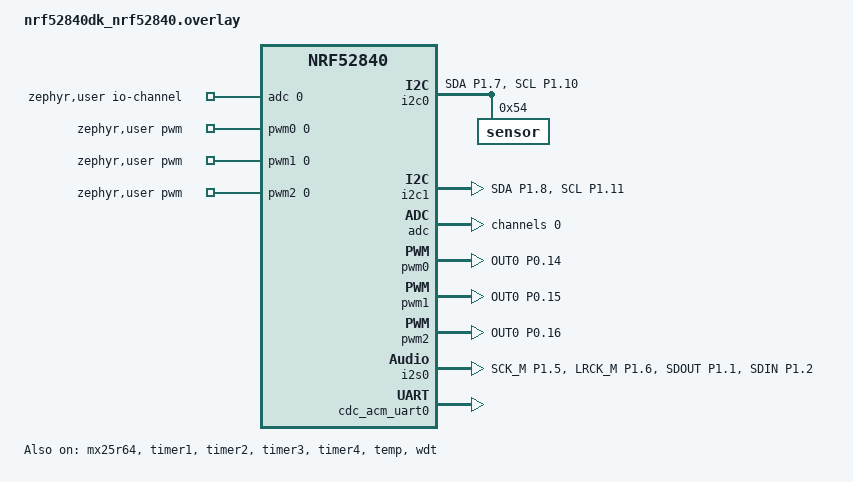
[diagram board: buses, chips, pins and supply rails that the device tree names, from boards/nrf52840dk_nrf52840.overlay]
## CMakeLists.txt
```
#
# Copyright (c) 2026 Nordic Semiconductor ASA
#
# SPDX-License-Identifier: LicenseRef-Nordic-5-Clause
#

cmake_minimum_required(VERSION 3.20.0)
find_package(Zephyr REQUIRED HINTS $ENV{ZEPHYR_BASE})
project(power_load)

target_sources_ifdef(CONFIG_ADC app PRIVATE src/adc_test.c)
target_sources_ifdef(CONFIG_BT app PRIVATE src/bt_test.c)
target_sources_ifdef(CONFIG_COUNTER app PRIVATE src/counter_test.c)
target_sources_ifdef(CONFIG_FLASH app PRIVATE src/flash_test.c)
target_sources_ifdef(CONFIG_GPIO app PRIVATE src/gpio_test.c)
target_sources_ifdef(CONFIG_I2C app PRIVATE src/i2c_test.c)
target_sources_ifdef(CONFIG_I2S app PRIVATE src/i2s_test.c)
target_sources_ifdef(CONFIG_PWM app PRIVATE src/pwm_test.c)
target_sources_ifdef(CONFIG_SENSOR app PRIVATE src/sensor_test.c)
target_sources_ifdef(CONFIG_WATCHDOG app PRIVATE src/wdt_test.c)

zephyr_include_directories_ifdef(CONFIG_USB_DEVICE_STACK_NEXT ${ZEPHYR_BASE}/samples/subsys/usb/common)
zephyr_sources_ifdef(CONFIG_USB_DEVICE_STACK_NEXT ${ZEPHYR_BASE}/samples/subsys/usb/common/sample_usbd_init.c)
target_sources_ifdef(CONFIG_USB_DEVICE_STACK_NEXT app PRIVATE src/usb_test.c)

target_sources(app PRIVATE src/cpu_test.c src/main.c)
```

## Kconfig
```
#
# Copyright (c) 2026 Nordic Semiconductor ASA
#
# SPDX-License-Identifier: LicenseRef-Nordic-5-Clause
#

config TEST_I2S_ALLOWED_DATA_OFFSET
	int "Allowed offset in received data"
	default 2 if DT_HAS_NORDIC_NRF_I2S_ENABLED || DT_HAS_NORDIC_NRF_TDM_ENABLED
	default 0
	help
	  Maximum allowed offset between sent and received samples. Non-zero
	  value of this option may be needed when GPIO loopback is used.

source "$(ZEPHYR_BASE)/samples/subsys/usb/common/Kconfig.sample_usbd"
source "Kconfig.zephyr"
```

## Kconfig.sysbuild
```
#
# Copyright (c) 2026 Nordic Semiconductor ASA
#
# SPDX-License-Identifier: LicenseRef-Nordic-5-Clause
#

choice FLPRCORE

config FLPR_VPR_TEST_APP
	bool "Test app image for cpuflpr"

endchoice

if !FLPRCORE_NONE

config FLPRCORE_IMAGE_NAME
	default "flpr_vpr_test_app" if FLPR_VPR_TEST_APP

config FLPRCORE_IMAGE_PATH
	default "$(ZEPHYR_NRF_MODULE_DIR)/tests/benchmarks/power_load/vpr_test_app" if FLPR_VPR_TEST_APP

endif # !FLPRCORE_NONE

choice PPRCORE

config PPR_VPR_TEST_APP
	bool "Test app image for cpuppr"

endchoice

if !PPRCORE_NONE

config PPRCORE_IMAGE_NAME
	default "ppr_vpr_test_app" if PPR_VPR_TEST_APP

config PPRCORE_IMAGE_PATH
	default "$(ZEPHYR_NRF_MODULE_DIR)/tests/benchmarks/power_load/vpr_test_app" if PPR_VPR_TEST_APP

endif # !PPRCORE_NONE

source "share/sysbuild/Kconfig"
```

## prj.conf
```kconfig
CONFIG_LOG=y
CONFIG_MAIN_STACK_SIZE=8192
CONFIG_CPU_LOAD=y

# ADC
CONFIG_ADC=y

# COUNTER
CONFIG_COUNTER=y

# GPIO
CONFIG_GPIO=y

# I2C
CONFIG_I2C=y
CONFIG_NRFX_TWIS=y

# UART
CONFIG_SERIAL=y
CONFIG_UART_ASYNC_API=y

# WDT
CONFIG_WATCHDOG=y
```

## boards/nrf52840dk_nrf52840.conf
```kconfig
# BLUETOOTH
CONFIG_BT=y
CONFIG_BT_DEVICE_NAME="Test beacon"

# I2S
CONFIG_I2S=y

# FLASH
CONFIG_FLASH=y

# PWM
CONFIG_PWM=y

# SENSOR
CONFIG_SENSOR=y

# USB
CONFIG_USB_DEVICE_STACK_NEXT=y

CONFIG_STDOUT_CONSOLE=y
CONFIG_SERIAL=y
CONFIG_UART_LINE_CTRL=y
CONFIG_USBD_CDC_ACM_CLASS=y

CONFIG_USBD_LOG_LEVEL_WRN=y
CONFIG_UDC_DRIVER_LOG_LEVEL_WRN=y
CONFIG_USBD_CDC_ACM_LOG_LEVEL_ERR=y

CONFIG_SAMPLE_USBD_PID=0x0001
CONFIG_SAMPLE_USBD_PRODUCT="USBD CDC ACM sample"

CONFIG_BT_CTLR_TX_PWR_PLUS_8=y
```

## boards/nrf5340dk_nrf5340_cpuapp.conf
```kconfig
# BLUETOOTH
CONFIG_BT=y
CONFIG_BT_DEVICE_NAME="Test beacon"

# I2S
CONFIG_I2S=y

# FLASH
CONFIG_FLASH=y

# PWM
CONFIG_PWM=y

# USB
CONFIG_USB_DEVICE_STACK_NEXT=y

CONFIG_STDOUT_CONSOLE=y
CONFIG_SERIAL=y
CONFIG_UART_LINE_CTRL=y
CONFIG_USBD_CDC_ACM_CLASS=y

CONFIG_USBD_LOG_LEVEL_WRN=y
CONFIG_UDC_DRIVER_LOG_LEVEL_WRN=y
CONFIG_USBD_CDC_ACM_LOG_LEVEL_ERR=y

CONFIG_SAMPLE_USBD_PID=0x0001
CONFIG_SAMPLE_USBD_PRODUCT="USBD CDC ACM sample"

CONFIG_SOC_NRF53_CPUNET_ENABLE=y
```

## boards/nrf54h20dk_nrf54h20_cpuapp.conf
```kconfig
# BLUETOOTH
CONFIG_BT=y
CONFIG_BT_DEVICE_NAME="Test beacon"

# FLASH
CONFIG_FLASH=y

# PWM
CONFIG_PWM=y

# USB
CONFIG_USB_DEVICE_STACK_NEXT=y

CONFIG_STDOUT_CONSOLE=y
CONFIG_SERIAL=y
CONFIG_UART_LINE_CTRL=y
CONFIG_USBD_CDC_ACM_CLASS=y

CONFIG_USBD_LOG_LEVEL_WRN=y
CONFIG_UDC_DRIVER_LOG_LEVEL_WRN=y
CONFIG_USBD_CDC_ACM_LOG_LEVEL_ERR=y

CONFIG_SAMPLE_USBD_PID=0x0001
CONFIG_SAMPLE_USBD_PRODUCT="USBD CDC ACM sample"

CONFIG_SOC_NRF54H20_CPURAD_ENABLE=y
```

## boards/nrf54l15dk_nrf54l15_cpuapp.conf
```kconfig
# BLUETOOTH
CONFIG_BT=y
CONFIG_BT_DEVICE_NAME="Test beacon"

# FLASH
CONFIG_FLASH=y

# PWM
CONFIG_PWM=y

# SENSOR
CONFIG_SENSOR=y

CONFIG_BT_CTLR_TX_PWR_PLUS_8=y
```

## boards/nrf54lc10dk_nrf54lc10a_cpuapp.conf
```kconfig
# BLUETOOTH
CONFIG_BT=y
CONFIG_BT_DEVICE_NAME="Test beacon"

# SENSOR
CONFIG_SENSOR=y

CONFIG_BT_CTLR_TX_PWR_PLUS_8=y
```

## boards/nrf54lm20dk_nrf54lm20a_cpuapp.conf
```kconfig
# BLUETOOTH
CONFIG_BT=y
CONFIG_BT_DEVICE_NAME="Test beacon"

# FLASH
CONFIG_FLASH=y

# I2S
CONFIG_I2S=y

# SENSOR
CONFIG_SENSOR=y

# USB
CONFIG_USB_DEVICE_STACK_NEXT=y

CONFIG_STDOUT_CONSOLE=y
CONFIG_SERIAL=y
CONFIG_UART_LINE_CTRL=y
CONFIG_USBD_CDC_ACM_CLASS=y

CONFIG_USBD_LOG_LEVEL_WRN=y
CONFIG_UDC_DRIVER_LOG_LEVEL_WRN=y
CONFIG_USBD_CDC_ACM_LOG_LEVEL_ERR=y

CONFIG_SAMPLE_USBD_PID=0x0001
CONFIG_SAMPLE_USBD_PRODUCT="USBD CDC ACM sample"

CONFIG_BT_CTLR_TX_PWR_PLUS_8=y
```

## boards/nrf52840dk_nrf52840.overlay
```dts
/*
 * Copyright (c) 2026 Nordic Semiconductor ASA
 *
 * SPDX-License-Identifier: LicenseRef-Nordic-5-Clause
 */

/ {
	aliases {
		dut-flash = &mx25r64;
		test-gpio = &led0;
		watchdog0 = &wdt;
		/delete-property/ pwm_led1;
	};

	zephyr,user {
		io-channels = <&adc 0>;
		pwms = <&pwm0 0 PWM_MSEC(10) PWM_POLARITY_NORMAL>,
		       <&pwm1 0 PWM_MSEC(10) PWM_POLARITY_NORMAL>,
		       <&pwm2 0 PWM_MSEC(10) PWM_POLARITY_NORMAL>;
	};
};

&pinctrl {
	i2c0_default_alt: i2c0_default_alt {
		group1 {
			psels = <NRF_PSEL(TWIM_SDA, 1, 7)>,
				<NRF_PSEL(TWIM_SCL, 1, 10)>;
		};
	};

	i2c0_sleep_alt: i2c0_sleep_alt {
		group1 {
			psels = <NRF_PSEL(TWIM_SDA, 1, 7)>,
				<NRF_PSEL(TWIM_SCL, 1, 10)>;
			low-power-enable;
		};
	};

	i2c1_default_alt: i2c1_default_alt {
		group1 {
			psels = <NRF_PSEL(TWIS_SDA, 1, 8)>,
				<NRF_PSEL(TWIS_SCL, 1, 11)>;
			bias-pull-up;
		};
	};

	i2c1_sleep_alt: i2c1_sleep_alt {
		group1 {
			psels = <NRF_PSEL(TWIS_SDA, 1, 8)>,
				<NRF_PSEL(TWIS_SCL, 1, 11)>;
			low-power-enable;
		};
	};

	pwm0_default_alt: pwm0_default_alt {
		group1 {
			psels = <NRF_PSEL(PWM_OUT0, 0, 14)>;
		};
	};

	pwm0_sleep_alt: pwm0_sleep_alt {
		group1 {
			psels = <NRF_PSEL(PWM_OUT0, 0, 14)>;
			low-power-enable;
		};
	};

	pwm1_default_alt: pwm1_default_alt {
		group1 {
			psels = <NRF_PSEL(PWM_OUT0, 0, 15)>;
		};
	};

	pwm1_sleep_alt: pwm1_sleep_alt {
		group1 {
			psels = <NRF_PSEL(PWM_OUT0, 0, 15)>;
			low-power-enable;
		};
	};

	pwm2_default_alt: pwm2_default_alt {
		group1 {
			psels = <NRF_PSEL(PWM_OUT0, 0, 16)>;
		};
	};

	pwm2_sleep_alt: pwm2_sleep_alt {
		group1 {
			psels = <NRF_PSEL(PWM_OUT0, 0, 16)>;
			low-power-enable;
		};
	};

	i2s0_default_alt: i2s0_default_alt {
		group1 {
			psels = <NRF_PSEL(I2S_SCK_M, 1, 5)>,
				<NRF_PSEL(I2S_LRCK_M, 1, 6)>,
				<NRF_PSEL(I2S_SDOUT, 1, 1)>,
				<NRF_PSEL(I2S_SDIN, 1, 2)>;
		};
	};
};

dut_twim: &i2c0 {
	compatible = "nordic,nrf-twim";
	status = "okay";
	pinctrl-0 = <&i2c0_default_alt>;
	pinctrl-1 = <&i2c0_sleep_alt>;
	pinctrl-names = "default", "sleep";

	sensor: sensor@54 {
		reg = <0x54>;
	};
};

dut_twis: &i2c1 {
	compatible = "nordic,nrf-twis";
	status = "okay";
	pinctrl-0 = <&i2c1_default_alt>;
	pinctrl-1 = <&i2c1_sleep_alt>;
	pinctrl-names = "default", "sleep";
};

&mx25r64 {
	status = "okay";
};

&adc {
	#address-cells = <1>;
	#size-cells = <0>;

	channel@0 {
		reg = <0>;
		zephyr,gain = "ADC_GAIN_1";
		zephyr,reference = "ADC_REF_INTERNAL";
		zephyr,acquisition-time = <ADC_ACQ_TIME(ADC_ACQ_TIME_MICROSECONDS, 10)>;
		zephyr,input-positive = <NRF_SAADC_AIN1>; /* P0.03 */
		zephyr,resolution = <10>;
	};
};

&timer1 {
	status = "okay";
};

&timer2 {
	status = "okay";
};

&timer3 {
	status = "okay";
};

&timer4 {
	status = "okay";
};

&pwm0 {
	status = "okay";
	pinctrl-0 = <&pwm0_default_alt>;
	pinctrl-1 = <&pwm0_sleep_alt>;
	pinctrl-names = "default", "sleep";
};

&pwm1 {
	status = "okay";
	pinctrl-0 = <&pwm1_default_alt>;
	pinctrl-1 = <&pwm1_sleep_alt>;
	pinctrl-names = "default", "sleep";
};

&pwm2 {
	status = "okay";
	pinctrl-0 = <&pwm2_default_alt>;
	pinctrl-1 = <&pwm2_sleep_alt>;
	pinctrl-names = "default", "sleep";
};

temp_sensor: &temp {
	status = "okay";
};

&gpio0 {
	status = "okay";
};

dut_i2s: &i2s0 {
	status = "okay";
	pinctrl-0 = <&i2s0_default_alt>;
	pinctrl-names = "default";
};

&wdt {
	status = "okay";
};

&zephyr_udc0 {
	cdc_acm_uart0 {
		compatible = "zephyr,cdc-acm-uart";
	};
};
```

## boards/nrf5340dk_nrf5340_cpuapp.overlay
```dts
/*
 * Copyright (c) 2026 Nordic Semiconductor ASA
 *
 * SPDX-License-Identifier: LicenseRef-Nordic-5-Clause
 */

/ {
	aliases {
		dut-flash = &mx25r64;
		test-gpio = &led0;
		watchdog0 = &wdt;
		/delete-property/ pwm_led1;
	};

	zephyr,user {
		io-channels = <&adc 0>;
		pwms = <&pwm0 0 PWM_MSEC(10) PWM_POLARITY_NORMAL>,
		       <&pwm1 0 PWM_MSEC(10) PWM_POLARITY_NORMAL>,
		       <&pwm2 0 PWM_MSEC(10) PWM_POLARITY_NORMAL>;
	};
};

&pinctrl {
	i2c1_default_alt: i2c1_default_alt {
		group1 {
			psels = <NRF_PSEL(TWIM_SDA, 1, 4)>,
				<NRF_PSEL(TWIM_SCL, 1, 8)>;
		};
	};

	i2c1_sleep_alt: i2c1_sleep_alt {
		group1 {
			psels = <NRF_PSEL(TWIM_SDA, 1, 4)>,
				<NRF_PSEL(TWIM_SCL, 1, 8)>;
			low-power-enable;
		};
	};

	i2c2_default_alt: i2c2_default_alt {
		group1 {
			psels = <NRF_PSEL(TWIS_SDA, 1, 5)>,
				<NRF_PSEL(TWIS_SCL, 1, 9)>;
			bias-pull-up;
		};
	};

	i2c2_sleep_alt: i2c2_sleep_alt {
		group1 {
			psels = <NRF_PSEL(TWIS_SDA, 1, 5)>,
				<NRF_PSEL(TWIS_SCL, 1, 9)>;
			low-power-enable;
		};
	};

	pwm0_default_alt: pwm0_default_alt {
		group1 {
			psels = <NRF_PSEL(PWM_OUT0, 0, 29)>;
		};
	};

	pwm0_sleep_alt: pwm0_sleep_alt {
		group1 {
			psels = <NRF_PSEL(PWM_OUT0, 0, 29)>;
			low-power-enable;
		};
	};

	pwm1_default_alt: pwm1_default_alt {
		group1 {
			psels = <NRF_PSEL(PWM_OUT0, 0, 30)>;
		};
	};

	pwm1_sleep_alt: pwm1_sleep_alt {
		group1 {
			psels = <NRF_PSEL(PWM_OUT0, 0, 30)>;
			low-power-enable;
		};
	};

	pwm2_default_alt: pwm2_default_alt {
		group1 {
			psels = <NRF_PSEL(PWM_OUT0, 0, 31)>;
		};
	};

	pwm2_sleep_alt: pwm2_sleep_alt {
		group1 {
			psels = <NRF_PSEL(PWM_OUT0, 0, 31)>;
			low-power-enable;
		};
	};

	i2s0_default_alt: i2s0_default_alt {
		group1 {
			psels = <NRF_PSEL(I2S_SCK_M, 1, 6)>,
				<NRF_PSEL(I2S_LRCK_M, 1, 7)>,
				<NRF_PSEL(I2S_SDOUT, 0, 4)>,
				<NRF_PSEL(I2S_SDIN, 0, 5)>;
		};
	};
};

dut_twim: &i2c1 {
	compatible = "nordic,nrf-twim";
	status = "okay";
	pinctrl-0 = <&i2c1_default_alt>;
	pinctrl-1 = <&i2c1_sleep_alt>;
	pinctrl-names = "default", "sleep";

	sensor: sensor@54 {
		reg = <0x54>;
	};
};

dut_twis: &i2c2 {
	compatible = "nordic,nrf-twis";
	status = "okay";
	pinctrl-0 = <&i2c2_default_alt>;
	pinctrl-1 = <&i2c2_sleep_alt>;
	pinctrl-names = "default", "sleep";
};

&mx25r64 {
	status = "okay";
};

&adc {
	#address-cells = <1>;
	#size-cells = <0>;

	channel@0 {
		reg = <0>;
		zephyr,gain = "ADC_GAIN_1";
		zephyr,reference = "ADC_REF_INTERNAL";
		zephyr,acquisition-time = <ADC_ACQ_TIME(ADC_ACQ_TIME_MICROSECONDS, 10)>;
		zephyr,input-positive = <NRF_SAADC_AIN4>; /* P0.25 */
		zephyr,resolution = <10>;
	};
};

&timer1 {
	status = "okay";
};

&timer2 {
	status = "okay";
};

&pwm0 {
	status = "okay";
	pinctrl-0 = <&pwm0_default_alt>;
	pinctrl-1 = <&pwm0_sleep_alt>;
	pinctrl-names = "default", "sleep";
};

&pwm1 {
	status = "okay";
	pinctrl-0 = <&pwm1_default_alt>;
	pinctrl-1 = <&pwm1_sleep_alt>;
	pinctrl-names = "default", "sleep";
};

&pwm2 {
	status = "okay";
	pinctrl-0 = <&pwm2_default_alt>;
	pinctrl-1 = <&pwm2_sleep_alt>;
	pinctrl-names = "default", "sleep";
};

&gpio0 {
	status = "okay";
};

dut_i2s: &i2s0 {
	status = "okay";
	pinctrl-0 = <&i2s0_default_alt>;
	pinctrl-names = "default";
};

&wdt {
	status = "okay";
};

&zephyr_udc0 {
	cdc_acm_uart0 {
		compatible = "zephyr,cdc-acm-uart";
	};
};
```

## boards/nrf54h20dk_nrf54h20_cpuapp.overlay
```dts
/*
 * Copyright (c) 2026 Nordic Semiconductor ASA
 *
 * SPDX-License-Identifier: LicenseRef-Nordic-5-Clause
 */

/ {
	aliases {
		dut-flash = &mx25uw63;
		test-gpio = &led0;
		watchdog0 = &wdt010;
		/delete-property/ pwm_led1;
	};

	zephyr,user {
		io-channels = <&adc 0>;
		pwms = <&pwm130 0 PWM_MSEC(10) PWM_POLARITY_NORMAL>,
		       <&pwm131 0 PWM_MSEC(10) PWM_POLARITY_NORMAL>,
		       <&pwm132 0 PWM_MSEC(10) PWM_POLARITY_NORMAL>;
	};
};

&pinctrl {
	i2c131_default_alt: i2c131_default_alt {
		group1 {
			psels = <NRF_PSEL(TWIM_SDA, 2, 8)>,
				<NRF_PSEL(TWIM_SCL, 1, 2)>;
		};
	};

	i2c131_sleep_alt: i2c131_sleep_alt {
		group1 {
			psels = <NRF_PSEL(TWIM_SDA, 2, 8)>,
				<NRF_PSEL(TWIM_SCL, 1, 2)>;
			low-power-enable;
		};
	};

	i2c132_default_alt: i2c132_default_alt {
		group1 {
			psels = <NRF_PSEL(TWIM_SDA, 2, 9)>,
				<NRF_PSEL(TWIM_SCL, 1, 3)>;
			bias-pull-up;
		};
	};

	i2c132_sleep_alt: i2c132_sleep_alt {
		group1 {
			psels = <NRF_PSEL(TWIM_SDA, 2, 9)>,
				<NRF_PSEL(TWIM_SCL, 1, 3)>;
			low-power-enable;
		};
	};

	pwm130_default_alt: pwm130_default_alt {
		group1 {
			psels = <NRF_PSEL(PWM_OUT0, 9, 1)>;
		};
	};

	pwm130_sleep_alt: pwm130_sleep_alt {
		group1 {
			psels = <NRF_PSEL(PWM_OUT0, 9, 1)>;
			low-power-enable;
		};
	};

	pwm131_default_alt: pwm131_default_alt {
		group1 {
			psels = <NRF_PSEL(PWM_OUT0, 0, 8)>;
		};
	};

	pwm131_sleep_alt: pwm131_sleep_alt {
		group1 {
			psels = <NRF_PSEL(PWM_OUT0, 0, 8)>;
			low-power-enable;
		};
	};

	pwm132_default_alt: pwm132_default_alt {
		group1 {
			psels = <NRF_PSEL(PWM_OUT0, 0, 9)>;
		};
	};

	pwm132_sleep_alt: pwm132_sleep_alt {
		group1 {
			psels = <NRF_PSEL(PWM_OUT0, 0, 9)>;
			low-power-enable;
		};
	};
};

dut_twim: &i2c131 {
	compatible = "nordic,nrf-twim";
	status = "okay";
	pinctrl-0 = <&i2c131_default_alt>;
	pinctrl-1 = <&i2c131_sleep_alt>;
	pinctrl-names = "default", "sleep";
	memory-regions = <&cpuapp_dma_region>;
	zephyr,concat-buf-size = <512>;

	sensor: sensor@54 {
		reg = <0x54>;
	};
};

dut_twis: &i2c132 {
	compatible = "nordic,nrf-twis";
	status = "okay";
	pinctrl-0 = <&i2c132_default_alt>;
	pinctrl-1 = <&i2c132_sleep_alt>;
	pinctrl-names = "default", "sleep";
	memory-regions = <&cpuapp_dma_region>;
};

&gpio6 {
	status = "okay";
	zephyr,pm-device-runtime-auto;
};

&exmif {
	status = "okay";
	zephyr,pm-device-runtime-auto;
};

&mx25uw63 {
	status = "okay";
};

&adc {
	#address-cells = <1>;
	#size-cells = <0>;

	channel@0 {
		reg = <0>;
		zephyr,gain = "ADC_GAIN_1";
		zephyr,reference = "ADC_REF_INTERNAL";
		zephyr,acquisition-time = <ADC_ACQ_TIME(ADC_ACQ_TIME_MICROSECONDS, 10)>;
		zephyr,input-positive = <NRF_SAADC_AIN0>; /* P1.00 */
		zephyr,resolution = <10>;
	};
};

&timer130 {
	status = "okay";
};

&timer131 {
	status = "okay";
};

&timer132 {
	status = "okay";
};

&timer133 {
	status = "okay";
};

&timer134 {
	status = "okay";
};

&timer135 {
	status = "okay";
};

&timer136 {
	status = "okay";
};

&timer137 {
	status = "okay";
};

&pwm130 {
	status = "okay";
	pinctrl-0 = <&pwm130_default_alt>;
	pinctrl-1 = <&pwm130_sleep_alt>;
	pinctrl-names = "default", "sleep";
	memory-regions = <&cpuapp_dma_region>;
};

&pwm131 {
	status = "okay";
	pinctrl-0 = <&pwm131_default_alt>;
	pinctrl-1 = <&pwm131_sleep_alt>;
	pinctrl-names = "default", "sleep";
	memory-regions = <&cpuapp_dma_region>;
};

&pwm132 {
	status = "okay";
	pinctrl-0 = <&pwm132_default_alt>;
	pinctrl-1 = <&pwm132_sleep_alt>;
	pinctrl-names = "default", "sleep";
	memory-regions = <&cpuapp_dma_region>;
};

temp_sensor: &temp_nrfs {
	status = "okay";
};

&gpio9 {
	status = "okay";
};

&wdt010 {
	status = "okay";
};

&zephyr_udc0 {
	cdc_acm_uart0 {
		compatible = "zephyr,cdc-acm-uart";
	};
};
```

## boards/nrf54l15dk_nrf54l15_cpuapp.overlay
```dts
/*
 * Copyright (c) 2026 Nordic Semiconductor ASA
 *
 * SPDX-License-Identifier: LicenseRef-Nordic-5-Clause
 */

/ {
	aliases {
		dut-flash = &mx25r64;
		test-gpio = &led0;
		watchdog0 = &wdt31;
		/delete-property/ pwm_led1;
	};

	zephyr,user {
		io-channels = <&adc 0>;
		pwms = <&pwm20 0 PWM_MSEC(10) PWM_POLARITY_NORMAL>,
		       <&pwm21 0 PWM_MSEC(10) PWM_POLARITY_NORMAL>,
		       <&pwm22 0 PWM_MSEC(10) PWM_POLARITY_NORMAL>;
	};
};

&pinctrl {
	i2c21_default_alt: i2c21_default_alt {
		group1 {
			psels = <NRF_PSEL(TWIM_SDA, 1, 8)>,
				<NRF_PSEL(TWIM_SCL, 1, 12)>;
		};
	};

	i2c21_sleep_alt: i2c21_sleep_alt {
		group1 {
			psels = <NRF_PSEL(TWIM_SDA, 1, 8)>,
				<NRF_PSEL(TWIM_SCL, 1, 12)>;
			low-power-enable;
		};
	};

	i2c22_default_alt: i2c22_default_alt {
		group1 {
			psels = <NRF_PSEL(TWIS_SDA, 1, 9)>,
				<NRF_PSEL(TWIS_SCL, 1, 13)>;
			bias-pull-up;
		};
	};

	i2c22_sleep_alt: i2c22_sleep_alt {
		group1 {
			psels = <NRF_PSEL(TWIS_SDA, 1, 9)>,
				<NRF_PSEL(TWIS_SCL, 1, 13)>;
			low-power-enable;
		};
	};

	pwm20_default_alt: pwm20_default_alt {
		group1 {
			psels = <NRF_PSEL(PWM_OUT0, 1, 10)>;
		};
	};

	pwm20_sleep_alt: pwm20_sleep_alt {
		group1 {
			psels = <NRF_PSEL(PWM_OUT0, 1, 10)>;
			low-power-enable;
		};
	};

	pwm21_default_alt: pwm21_default_alt {
		group1 {
			psels = <NRF_PSEL(PWM_OUT0, 1, 13)>;
		};
	};

	pwm21_sleep_alt: pwm21_sleep_alt {
		group1 {
			psels = <NRF_PSEL(PWM_OUT0, 1, 13)>;
			low-power-enable;
		};
	};

	pwm22_default_alt: pwm22_default_alt {
		group1 {
			psels = <NRF_PSEL(PWM_OUT0, 1, 14)>;
		};
	};

	pwm22_sleep_alt: pwm22_sleep_alt {
		group1 {
			psels = <NRF_PSEL(PWM_OUT0, 1, 14)>;
			low-power-enable;
		};
	};
};

dut_twim: &i2c21 {
	compatible = "nordic,nrf-twim";
	status = "okay";
	pinctrl-0 = <&i2c21_default_alt>;
	pinctrl-1 = <&i2c21_sleep_alt>;
	pinctrl-names = "default", "sleep";

	sensor: sensor@54 {
		reg = <0x54>;
	};
};

dut_twis: &i2c22 {
	compatible = "nordic,nrf-twis";
	status = "okay";
	pinctrl-0 = <&i2c22_default_alt>;
	pinctrl-1 = <&i2c22_sleep_alt>;
	pinctrl-names = "default", "sleep";
};

&mx25r64 {
	status = "okay";
};

&adc {
	#address-cells = <1>;
	#size-cells = <0>;

	channel@0 {
		reg = <0>;
		zephyr,gain = "ADC_GAIN_1";
		zephyr,reference = "ADC_REF_INTERNAL";
		zephyr,acquisition-time = <ADC_ACQ_TIME(ADC_ACQ_TIME_MICROSECONDS, 10)>;
		zephyr,input-positive = <NRF_SAADC_AIN1>; /* P1.06 */
		zephyr,resolution = <10>;
	};
};

&timer20 {
	status = "okay";
};

&timer21 {
	status = "okay";
};

&timer22 {
	status = "okay";
};

&timer23 {
	status = "okay";
};

&timer24 {
	status = "okay";
};

&pwm20 {
	status = "okay";
	pinctrl-0 = <&pwm20_default_alt>;
	pinctrl-1 = <&pwm20_sleep_alt>;
	pinctrl-names = "default", "sleep";
};

&pwm21 {
	status = "okay";
	pinctrl-0 = <&pwm21_default_alt>;
	pinctrl-1 = <&pwm21_sleep_alt>;
	pinctrl-names = "default", "sleep";
};

&pwm22 {
	status = "okay";
	pinctrl-0 = <&pwm22_default_alt>;
	pinctrl-1 = <&pwm22_sleep_alt>;
	pinctrl-names = "default", "sleep";
};

temp_sensor: &temp {
	status = "okay";
};

&gpio2 {
	status = "okay";
};

&wdt31 {
	status = "okay";
};
```

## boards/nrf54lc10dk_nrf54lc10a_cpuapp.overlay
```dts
/*
 * Copyright (c) 2026 Nordic Semiconductor ASA
 *
 * SPDX-License-Identifier: LicenseRef-Nordic-5-Clause
 */

/ {
	aliases {
		test-gpio = &led0;
		watchdog0 = &wdt31;
		/delete-property/ pwm_led1;
	};

	zephyr,user {
		io-channels = <&adc 0>;
	};
};

&adc {
	#address-cells = <1>;
	#size-cells = <0>;
	status = "okay";

	channel@0 {
		reg = <0>;
		zephyr,gain = "ADC_GAIN_1";
		zephyr,reference = "ADC_REF_INTERNAL";
		zephyr,acquisition-time = <ADC_ACQ_TIME(ADC_ACQ_TIME_MICROSECONDS, 10)>;
		zephyr,input-positive = <NRF_SAADC_AIN0>; /* P1.00 */
		zephyr,resolution = <10>;
	};
};

&timer20 {
	status = "okay";
};

&timer21 {
	status = "okay";
};

&timer22 {
	status = "okay";
};

&timer23 {
	status = "okay";
};

&timer24 {
	status = "okay";
};

temp_sensor: &temp {
	status = "okay";
};

&gpio1 {
	status = "okay";
};

&wdt31 {
	status = "okay";
};
```

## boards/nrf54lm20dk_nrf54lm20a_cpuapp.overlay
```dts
/*
 * Copyright (c) 2026 Nordic Semiconductor ASA
 *
 * SPDX-License-Identifier: LicenseRef-Nordic-5-Clause
 */

/ {
	aliases {
		dut-flash = &mx25r64;
		test-gpio = &led0;
		watchdog0 = &wdt31;
		/delete-property/ pwm_led1;
	};

	zephyr,user {
		io-channels = <&adc 0>;
		pwms = <&pwm20 0 PWM_MSEC(10) PWM_POLARITY_NORMAL>,
		       <&pwm21 0 PWM_MSEC(10) PWM_POLARITY_NORMAL>,
		       <&pwm22 0 PWM_MSEC(10) PWM_POLARITY_NORMAL>;
	};
};

&pinctrl {
	i2c21_default_alt: i2c21_default_alt {
		group1 {
			psels = <NRF_PSEL(TWIM_SDA, 1, 13)>,
				<NRF_PSEL(TWIM_SCL, 1, 23)>;
		};
	};

	i2c21_sleep_alt: i2c21_sleep_alt {
		group1 {
			psels = <NRF_PSEL(TWIM_SDA, 1, 13)>,
				<NRF_PSEL(TWIM_SCL, 1, 23)>;
			low-power-enable;
		};
	};

	i2c22_default_alt: i2c22_default_alt {
		group1 {
			psels = <NRF_PSEL(TWIS_SDA, 1, 14)>,
				<NRF_PSEL(TWIS_SCL, 1, 24)>;
			bias-pull-up;
		};
	};

	i2c22_sleep_alt: i2c22_sleep_alt {
		group1 {
			psels = <NRF_PSEL(TWIS_SDA, 1, 14)>,
				<NRF_PSEL(TWIS_SCL, 1, 24)>;
			low-power-enable;
		};
	};

	pwm20_default_alt: pwm20_default_alt {
		group1 {
			psels = <NRF_PSEL(PWM_OUT0, 1, 25)>;
		};
	};

	pwm20_sleep_alt: pwm20_sleep_alt {
		group1 {
			psels = <NRF_PSEL(PWM_OUT0, 1, 25)>;
			low-power-enable;
		};
	};

	pwm21_default_alt: pwm21_default_alt {
		group1 {
			psels = <NRF_PSEL(PWM_OUT0, 1, 28)>;
		};
	};

	pwm21_sleep_alt: pwm21_sleep_alt {
		group1 {
			psels = <NRF_PSEL(PWM_OUT0, 1, 28)>;
			low-power-enable;
		};
	};

	pwm22_default_alt: pwm22_default_alt {
		group1 {
			psels = <NRF_PSEL(PWM_OUT0, 1, 26)>;
		};
	};

	pwm22_sleep_alt: pwm22_sleep_alt {
		group1 {
			psels = <NRF_PSEL(PWM_OUT0, 1, 26)>;
			low-power-enable;
		};
	};

	tdm_default_alt: tdm_default_alt {
		group1 {
			psels = <NRF_PSEL(TDM_SCK_M, 1, 0)>,
				<NRF_PSEL(TDM_FSYNC_M, 1, 3)>,
				<NRF_PSEL(TDM_SDOUT, 1, 30)>,
				<NRF_PSEL(TDM_SDIN, 1, 31)>;
		};
	};
};

dut_twim: &i2c21 {
	compatible = "nordic,nrf-twim";
	status = "okay";
	pinctrl-0 = <&i2c21_default_alt>;
	pinctrl-1 = <&i2c21_sleep_alt>;
	pinctrl-names = "default", "sleep";

	sensor: sensor@54 {
		reg = <0x54>;
	};
};

dut_twis: &i2c22 {
	compatible = "nordic,nrf-twis";
	status = "okay";
	pinctrl-0 = <&i2c22_default_alt>;
	pinctrl-1 = <&i2c22_sleep_alt>;
	pinctrl-names = "default", "sleep";
};

&mx25r64 {
	status = "okay";
};

&adc {
	#address-cells = <1>;
	#size-cells = <0>;

	channel@0 {
		reg = <0>;
		zephyr,gain = "ADC_GAIN_1";
		zephyr,reference = "ADC_REF_INTERNAL";
		zephyr,acquisition-time = <ADC_ACQ_TIME(ADC_ACQ_TIME_MICROSECONDS, 10)>;
		zephyr,input-positive = <NRF_SAADC_AIN4>; /* P1.06 */
		zephyr,resolution = <10>;
	};
};

&timer20 {
	status = "okay";
};

&timer21 {
	status = "okay";
};

&timer22 {
	status = "okay";
};

&timer23 {
	status = "okay";
};

&timer24 {
	status = "okay";
};

&pwm20 {
	status = "okay";
	pinctrl-0 = <&pwm20_default_alt>;
	pinctrl-1 = <&pwm20_sleep_alt>;
	pinctrl-names = "default", "sleep";
};

&pwm21 {
	status = "okay";
	pinctrl-0 = <&pwm21_default_alt>;
	pinctrl-1 = <&pwm21_sleep_alt>;
	pinctrl-names = "default", "sleep";
};

&pwm22 {
	status = "okay";
	pinctrl-0 = <&pwm22_default_alt>;
	pinctrl-1 = <&pwm22_sleep_alt>;
	pinctrl-names = "default", "sleep";
};

temp_sensor: &temp {
	status = "okay";
};

&gpio2 {
	status = "okay";
};

&wdt31 {
	status = "okay";
};

dut_i2s: &tdm {
	status = "okay";
	pinctrl-0 = <&tdm_default_alt>;
	pinctrl-names = "default";
};

&zephyr_udc0 {
	cdc_acm_uart0 {
		compatible = "zephyr,cdc-acm-uart";
	};
};
```

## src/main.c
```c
/*
 * Copyright (c) 2026 Nordic Semiconductor ASA
 *
 * SPDX-License-Identifier: LicenseRef-Nordic-5-Clause
 */

#include <zephyr/kernel.h>
#include <zephyr/logging/log.h>
#include <zephyr/sys/cpu_load.h>
#include "bt_test.h"

LOG_MODULE_REGISTER(main, LOG_LEVEL_INF);

#define MONITORING_DEAD_TIME_MS 2500

atomic_t started_threads;

int main(void)
{

#if defined(CONFIG_BT)
	int ret;
#endif
	uint32_t cpu_load;

	LOG_INF("Power load performance benchmark %s", CONFIG_BOARD_TARGET);

#if defined(CONFIG_BT)
	ret = bt_start();
	if (ret != 0) {
		LOG_ERR("BT advertising failed to start: %d", ret);
	} else {
		LOG_INF("BT advertising started");
		atomic_inc(&started_threads);
	}
#endif

	cpu_load_get(true);

	while (1) {
		cpu_load = cpu_load_get(true);
		LOG_INF("Active threads: %u", (uint32_t)atomic_get(&started_threads));
		LOG_INF("CPU load %%: %u,%u", cpu_load / 10, cpu_load % 10);
		k_msleep(MONITORING_DEAD_TIME_MS);
	}

	return 0;
}
```

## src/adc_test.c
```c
/*
 * Copyright (c) 2026 Nordic Semiconductor ASA
 *
 * SPDX-License-Identifier: LicenseRef-Nordic-5-Clause
 */

#include "adc_test.h"

LOG_MODULE_REGISTER(adc_test, LOG_LEVEL_INF);

#define ADC_NODE DT_NODELABEL(adc)

static int16_t adc_sample_buffer[ADC_BUFFER_MAX_SIZE] DMM_MEMORY_SECTION(ADC_NODE);

static const struct device *adc = DEVICE_DT_GET(ADC_NODE);
static struct adc_channel_cfg channel_cfgs[] = {
	DT_FOREACH_CHILD_SEP(ADC_NODE, ADC_CHANNEL_CFG_DT, (,))};
static const struct adc_dt_spec adc_channels[] = {
	DT_FOREACH_PROP_ELEM(DT_PATH(zephyr_user), io_channels, DT_SPEC_AND_COMMA)};

extern atomic_t started_threads;

const struct adc_sequence_options options = {
	.interval_us = 100,
	.extra_samplings = ADC_BUFFER_MAX_SIZE - 1,
};

struct adc_sequence sequence = {
	.options = &options, .buffer = adc_sample_buffer, .buffer_size = sizeof(adc_sample_buffer)};

static int setup(void)
{
	int ret;

	ret = adc_is_ready_dt(&adc_channels[0]);
	if (ret != 1) {
		LOG_ERR("ADC device not ready: %d", ret);
		return -1;
	}

	ret = adc_channel_setup(adc, &channel_cfgs[0]);
	if (ret != 0) {
		LOG_ERR("ADC channel setup failed: %d", ret);
		return -2;
	}

	ret = adc_sequence_init_dt(&adc_channels[0], &sequence);
	if (ret != 0) {
		LOG_ERR("ADC sequence init failed: %d", ret);
		return -3;
	}

	return 0;
}

static void adc_load_thread_worker(void *arg1, void *arg2, void *arg3)
{
	ARG_UNUSED(arg1);
	ARG_UNUSED(arg2);
	ARG_UNUSED(arg3);

	int ret;

	ret = setup();
	if (ret != 0) {
		LOG_ERR("ADC setup failed: %d\n", ret);
		return;
	}

	atomic_inc(&started_threads);

	LOG_INF("ADC load thread started");
	while (1) {
		ret = adc_read_dt(&adc_channels[0], &sequence);
		if (ret != 0) {
			LOG_ERR("ADC read failed: %d", ret);
		}
		k_msleep(ADC_THREAD_SLEEP);
	}
}

K_THREAD_DEFINE(adc_load_thread, ADC_THREAD_STACKSIZE, adc_load_thread_worker, NULL, NULL, NULL,
		K_PRIO_PREEMPT(ADC_THREAD_PRIORITY), 0, 0);
```

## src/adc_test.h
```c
/*
 * Copyright (c) 2026 Nordic Semiconductor ASA
 *
 * SPDX-License-Identifier: LicenseRef-Nordic-5-Clause
 */

#include <zephyr/kernel.h>
#include <zephyr/logging/log.h>
#include <zephyr/drivers/adc.h>
#include <dmm.h>

#define ADC_THREAD_STACKSIZE (512)
#define ADC_THREAD_PRIORITY  (1)
#define ADC_THREAD_SLEEP     (50)

#define ADC_BUFFER_MAX_SIZE 16

#define DT_SPEC_AND_COMMA(node_id, prop, idx) ADC_DT_SPEC_GET_BY_IDX(node_id, idx),
```

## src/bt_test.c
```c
/*
 * Copyright (c) 2026 Nordic Semiconductor ASA
 *
 * SPDX-License-Identifier: LicenseRef-Nordic-5-Clause
 */

#include "bt_test.h"

LOG_MODULE_REGISTER(bt_test, LOG_LEVEL_INF);

extern atomic_t started_threads;

#define DEVICE_NAME	CONFIG_BT_DEVICE_NAME
#define DEVICE_NAME_LEN (sizeof(DEVICE_NAME) - 1)

/*
 * Set Advertisement data. Based on the Eddystone specification:
 * https://github.com/google/eddystone/blob/master/protocol-specification.md
 * https://github.com/google/eddystone/tree/master/eddystone-url
 */
static const struct bt_data ad[] = {
	BT_DATA_BYTES(BT_DATA_FLAGS, BT_LE_AD_NO_BREDR),
	BT_DATA_BYTES(BT_DATA_UUID16_ALL, 0xaa, 0xfe),
	BT_DATA_BYTES(BT_DATA_SVC_DATA16, 0xaa, 0xfe, /* Eddystone UUID */
		      0x10,			      /* Eddystone-URL frame type */
		      0x00,			      /* Calibrated Tx power at 0m */
		      0x00,			      /* URL Scheme Prefix http://www. */
		      'z', 'e', 'p', 'h', 'y', 'r', 'p', 'r', 'o', 'j', 'e', 'c', 't',
		      0x08) /* .org */
};

/* Set Scan Response data */
static const struct bt_data sd[] = {
	BT_DATA(BT_DATA_NAME_COMPLETE, DEVICE_NAME, DEVICE_NAME_LEN),
};

static void bt_ready(int err)
{
	char addr_s[BT_ADDR_LE_STR_LEN];
	bt_addr_le_t addr = {0};
	size_t count = 1;

	if (err) {
		LOG_ERR("Bluetooth init failed (err %d)", err);
		return;
	}

	LOG_INF("Bluetooth initialized\n");

	/* Start advertising */
	err = bt_le_adv_start(BT_LE_ADV_NCONN_IDENTITY, ad, ARRAY_SIZE(ad), sd, ARRAY_SIZE(sd));
	if (err) {
		LOG_ERR("Advertising failed to start (err %d)", err);
		return;
	}

	/* For connectable advertising you would use
	 * bt_le_oob_get_local().  For non-connectable non-identity
	 * advertising an non-resolvable private address is used;
	 * there is no API to retrieve that.
	 */

	bt_id_get(&addr, &count);
	bt_addr_le_to_str(&addr, addr_s, sizeof(addr_s));

	LOG_INF("Beacon started, advertising as %s", addr_s);
}

int bt_start(void)
{
	if (bt_enable(bt_ready) != 0) {
		LOG_ERR("Bluetooth init failed");
		return -1;
	}

	return 0;
}
```

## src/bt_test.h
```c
/*
 * Copyright (c) 2026 Nordic Semiconductor ASA
 *
 * SPDX-License-Identifier: LicenseRef-Nordic-5-Clause
 */

#include <zephyr/kernel.h>
#include <zephyr/logging/log.h>
#include <zephyr/bluetooth/bluetooth.h>
#include <zephyr/bluetooth/hci.h>

int bt_start(void);
```

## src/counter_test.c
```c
/*
 * Copyright (c) 2026 Nordic Semiconductor ASA
 *
 * SPDX-License-Identifier: LicenseRef-Nordic-5-Clause
 */

#include "counter_test.h"

LOG_MODULE_REGISTER(counter_test, LOG_LEVEL_INF);

#define COUNTER_DEV_ENTRY(node) DEVICE_DT_GET(node),

static const struct device *const counter_devs[] = {
	DT_FOREACH_STATUS_OKAY(nordic_nrf_timer, COUNTER_DEV_ENTRY)};

#define COUNTER_DEVICES_COUNT ARRAY_SIZE(counter_devs)

static struct counter_alarm_cfg alarm_cfg[COUNTER_DEVICES_COUNT];
extern atomic_t started_threads;

static struct k_sem counter_expired_sems[COUNTER_DEVICES_COUNT];

static void counter_callback(const struct device *counter_dev, uint8_t chan_id, uint32_t ticks,
			     void *user_data)
{
	ARG_UNUSED(counter_dev);
	ARG_UNUSED(chan_id);
	ARG_UNUSED(ticks);

	struct k_sem *per_timer_expiry_sem = (struct k_sem *)user_data;

	k_sem_give(per_timer_expiry_sem);
}

static int setup(void)
{
	int ret;

	for (uint8_t counter_id = 0; counter_id < COUNTER_DEVICES_COUNT; counter_id++) {

		k_sem_init(&counter_expired_sems[counter_id], 0, 1);

		alarm_cfg[counter_id].flags = 0;
		alarm_cfg[counter_id].ticks =
			counter_us_to_ticks(counter_devs[counter_id], COUNTER_THREAD_SLEEP * 1000);
		alarm_cfg[counter_id].callback = counter_callback;
		alarm_cfg[counter_id].user_data = (void *)&counter_expired_sems[counter_id];

		ret = device_is_ready(counter_devs[counter_id]);
		if (ret != 1) {
			LOG_ERR("COUNTER/TIMER device %u not ready: %d", counter_id, ret);
			return -1;
		}

		ret = counter_start(counter_devs[counter_id]);
		if (ret != 0) {
			LOG_ERR("COUNTER/TIMER device %u failed to start: %d", counter_id, ret);
			return -2;
		}

		ret = counter_set_channel_alarm(counter_devs[counter_id], ALARM_CHANNEL_ID,
						&alarm_cfg[counter_id]);
		if (ret != 0) {
			LOG_ERR("COUNTER/TIMER device %u channel alarm set failed: %d", counter_id,
				ret);
			return -3;
		}
	}

	return 0;
}

static void counter_load_thread_worker(void *arg1, void *arg2, void *arg3)
{
	ARG_UNUSED(arg1);
	ARG_UNUSED(arg2);
	ARG_UNUSED(arg3);

	int ret;
	uint32_t now_ticks;

	ret = setup();
	if (ret != 0) {
		LOG_ERR("COUNTER/TIMER setup failed: %d\n", ret);
		return;
	}

	atomic_inc(&started_threads);

	LOG_INF("COUNTER/TIMER load thread started");
	while (1) {
		for (uint8_t counter_id = 0; counter_id < COUNTER_DEVICES_COUNT; counter_id++) {
			if (k_sem_take(&counter_expired_sems[counter_id], K_NO_WAIT) == 0) {
				/* Get current ticks */
				ret = counter_get_value(counter_devs[counter_id], &now_ticks);
				if (ret) {
					LOG_ERR("counter_get_value() dev %u failed: %d", counter_id,
						ret);
					return;
				}

				/* Set a new alarm */
				ret = counter_set_channel_alarm(counter_devs[counter_id],
								ALARM_CHANNEL_ID,
								&alarm_cfg[counter_id]);
				if (ret != 0) {
					LOG_ERR("counter_set_channel_alarm() dev %u failed: %d",
						counter_id, ret);
				}
			}
		}
		k_msleep(COUNTER_THREAD_SLEEP);
	}
}

K_THREAD_DEFINE(counter_load_thread, COUNTER_THREAD_STACKSIZE, counter_load_thread_worker, NULL,
		NULL, NULL, K_PRIO_PREEMPT(COUNTER_THREAD_PRIORITY), 0, 0);
```

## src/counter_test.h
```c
/*
 * Copyright (c) 2026 Nordic Semiconductor ASA
 *
 * SPDX-License-Identifier: LicenseRef-Nordic-5-Clause
 */

#include <zephyr/kernel.h>
#include <zephyr/logging/log.h>
#include <zephyr/drivers/counter.h>

#define COUNTER_THREAD_STACKSIZE (512)
#define COUNTER_THREAD_PRIORITY	 (1)
#define COUNTER_THREAD_SLEEP	 (100)

#define ALARM_CHANNEL_ID (0)
```

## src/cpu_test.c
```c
/*
 * Copyright (c) 2026 Nordic Semiconductor ASA
 *
 * SPDX-License-Identifier: LicenseRef-Nordic-5-Clause
 */

#include "cpu_test.h"

LOG_MODULE_REGISTER(cpu_test, LOG_LEVEL_INF);

extern atomic_t started_threads;

static void cpu_load_thread_worker(void *arg1, void *arg2, void *arg3)
{
	ARG_UNUSED(arg1);
	ARG_UNUSED(arg2);
	ARG_UNUSED(arg3);

	atomic_inc(&started_threads);

	while (1) {
		k_busy_wait(CPU_ACTIVE_TIME_US);
		k_msleep(CPU_THREAD_SLEEP);
	}
}

K_THREAD_DEFINE(cpu_load_thread, CPU_THREAD_STACKSIZE, cpu_load_thread_worker, NULL, NULL, NULL,
		K_PRIO_PREEMPT(CPU_THREAD_PRIORITY), 0, 0);
```

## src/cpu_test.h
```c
/*
 * Copyright (c) 2026 Nordic Semiconductor ASA
 *
 * SPDX-License-Identifier: LicenseRef-Nordic-5-Clause
 */

#include <zephyr/kernel.h>
#include <zephyr/logging/log.h>

#define CPU_THREAD_STACKSIZE (256)
#define CPU_THREAD_PRIORITY  (1)
#define CPU_THREAD_SLEEP     (100)
#define CPU_ACTIVE_TIME_US   (1000 * 1000)
```

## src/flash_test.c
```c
/*
 * Copyright (c) 2026 Nordic Semiconductor ASA
 *
 * SPDX-License-Identifier: LicenseRef-Nordic-5-Clause
 */

#include "flash_test.h"

LOG_MODULE_REGISTER(flash_test, LOG_LEVEL_INF);

static const struct device *const flash_dev = DEVICE_DT_GET(DT_ALIAS(dut_flash));

extern atomic_t started_threads;
static uint8_t test_buffer[MAX_TEST_BUFFER_SIZE];

static int setup(void)
{
	int ret;
	static uint64_t flash_size;
	uint32_t pages_count;
	static size_t page_size;

	ret = device_is_ready(flash_dev);
	if (ret != 1) {
		LOG_ERR("FLASH device not ready: %d", ret);
		return -1;
	}

	flash_get_size(flash_dev, &flash_size);
	pages_count = flash_get_page_count(flash_dev);
	page_size = (size_t)(flash_size / pages_count);

	LOG_INF("Flash size: %llu", flash_size);
	LOG_INF("Pages: %u", pages_count);
	LOG_INF("Minimal write block size: %u", flash_get_write_block_size(flash_dev));
	LOG_INF("Page size: %u", page_size);

	ret = flash_erase(flash_dev, 0, page_size);
	if (ret != 0) {
		LOG_ERR("FLASH erase failed: %d", ret);
		return -2;
	}

	return 0;
}

static void flash_load_thread_worker(void *arg1, void *arg2, void *arg3)
{
	ARG_UNUSED(arg1);
	ARG_UNUSED(arg2);
	ARG_UNUSED(arg3);

	int ret;

	ret = setup();
	if (ret != 0) {
		LOG_ERR("FLASH setup failed: %d\n", ret);
		return;
	}

	atomic_inc(&started_threads);

	LOG_INF("FLASH load thread started");
	while (1) {
		ret = flash_read(flash_dev, 0, test_buffer, sizeof(test_buffer));
		if (ret != 0) {
			LOG_ERR("FLASH read failed: %d", ret);
		}
		k_msleep(FLASH_THREAD_SLEEP);
	}
}

K_THREAD_DEFINE(flash_load_thread, FLASH_THREAD_STACKSIZE, flash_load_thread_worker, NULL, NULL,
		NULL, K_PRIO_PREEMPT(FLASH_THREAD_PRIORITY), 0, 0);
```

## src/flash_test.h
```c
/*
 * Copyright (c) 2026 Nordic Semiconductor ASA
 *
 * SPDX-License-Identifier: LicenseRef-Nordic-5-Clause
 */

#include <zephyr/kernel.h>
#include <zephyr/logging/log.h>
#include <zephyr/drivers/flash.h>

#define MAX_TEST_BUFFER_SIZE 2048

#define FLASH_THREAD_STACKSIZE (4096)
#define FLASH_THREAD_PRIORITY  (1)
#define FLASH_THREAD_SLEEP     (100)
```

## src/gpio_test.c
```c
/*
 * Copyright (c) 2026 Nordic Semiconductor ASA
 *
 * SPDX-License-Identifier: LicenseRef-Nordic-5-Clause
 */

#include "gpio_test.h"

LOG_MODULE_REGISTER(gpio_test, LOG_LEVEL_INF);

#define GPIO_NODE DT_ALIAS(test_gpio)

static const struct gpio_dt_spec gpio_spec = GPIO_DT_SPEC_GET(GPIO_NODE, gpios);

extern atomic_t started_threads;

static int setup(void)
{
	int ret;

	ret = gpio_is_ready_dt(&gpio_spec);
	if (ret != 1) {
		LOG_ERR("GPIO device is not ready: %d", ret);
		return -1;
	}

	ret = gpio_pin_configure_dt(&gpio_spec, GPIO_OUTPUT);
	if (ret != 0) {
		LOG_ERR("GPIO configuration failed %d", ret);
		return -2;
	}

	return 0;
}

static void gpio_load_thread_worker(void *arg1, void *arg2, void *arg3)
{
	ARG_UNUSED(arg1);
	ARG_UNUSED(arg2);
	ARG_UNUSED(arg3);

	int ret;

	ret = setup();
	if (ret != 0) {
		LOG_ERR("GPIO setup failed: %d\n", ret);
		return;
	}

	atomic_inc(&started_threads);

	LOG_INF("GPIO load thread started");
	while (1) {
		ret = gpio_pin_toggle_dt(&gpio_spec);
		if (ret != 0) {
			LOG_ERR("Failed to toggle GPIO: %d", ret);
		}
		k_msleep(GPIO_THREAD_SLEEP);
	}
}

K_THREAD_DEFINE(gpio_load_thread, GPIO_THREAD_STACKSIZE, gpio_load_thread_worker, NULL, NULL, NULL,
		K_PRIO_PREEMPT(GPIO_THREAD_PRIORITY), 0, 0);
```

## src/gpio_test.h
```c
/*
 * Copyright (c) 2026 Nordic Semiconductor ASA
 *
 * SPDX-License-Identifier: LicenseRef-Nordic-5-Clause
 */

#include <zephyr/kernel.h>
#include <zephyr/logging/log.h>
#include <zephyr/drivers/gpio.h>

#define GPIO_THREAD_STACKSIZE (512)
#define GPIO_THREAD_PRIORITY  (1)
#define GPIO_THREAD_SLEEP     (1000)
```
